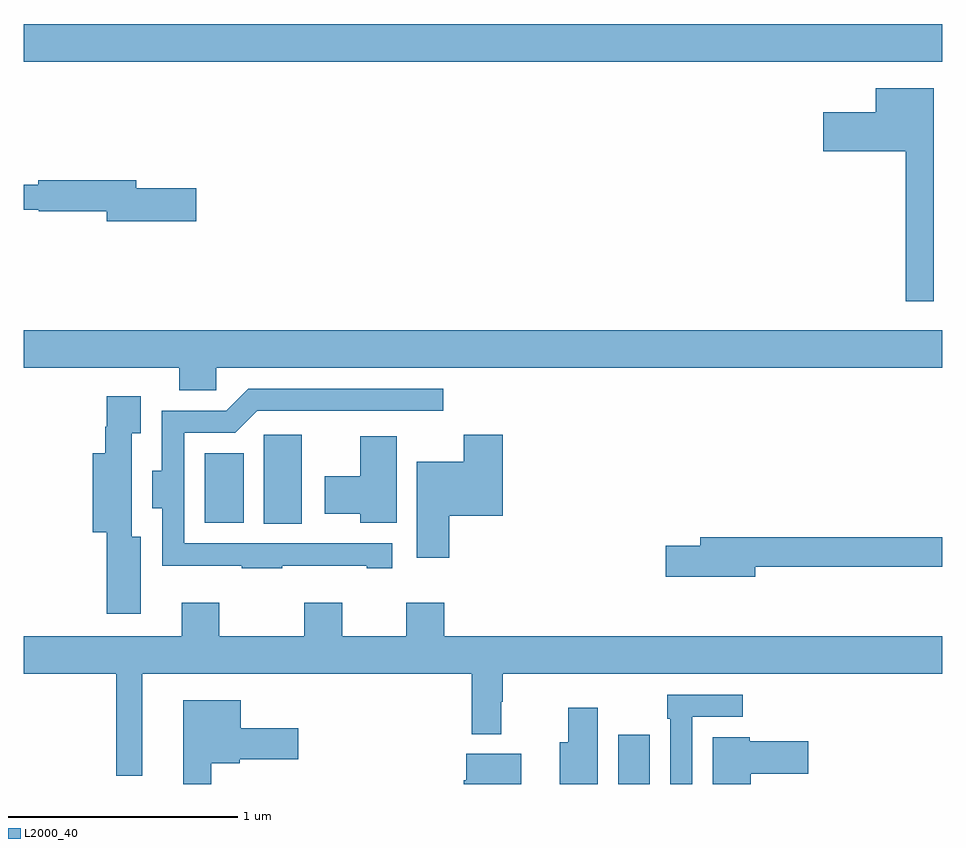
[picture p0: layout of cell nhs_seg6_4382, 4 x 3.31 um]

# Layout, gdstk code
import gdstk
lib = gdstk.Library(unit=1e-6, precision=1e-09)
def R(c, l, rs):  # rectangles x0, y0, x1, y1
    for r in rs: c.add(gdstk.rectangle(r[:2], r[2:], *l))
def P(c, l, *ps):  # polygons
    for p in ps: c.add(gdstk.Polygon(p, *l))
L2000_40 = (2000, 40)

nhs_seg6_4382 = lib.new_cell('nhs_seg6_4382')
R(nhs_seg6_4382, L2000_40, [(371.588,969.5,371.725,969.715), (370.046,970.633,370.21,971.02), (369.788,970.637,369.958,970.939), (369,972.644,373,972.808)])
P(nhs_seg6_4382, L2000_40, [(372.961,972.529),(372.71,972.529),(372.71,972.424),(372.48,972.424),(372.48,972.254),(372.84,972.254),(372.84,971.601),(372.961,971.601)],
  [(369.751,972.092),(369.49,972.092),(369.49,972.128),(369.064,972.128),(369.064,972.109),(369,972.109),(369,972),(369.066,972),(369.066,971.992),(369.362,971.992),(369.362,971.95),(369.751,971.95)],
  [(369.84,971.312),(373,971.312),(373,971.476),(369,971.476),(369,971.312),(369.677,971.312),(369.677,971.214),(369.84,971.214)],
  [(370.127,970.451),(370.493,970.451),(370.493,970.44),(370.606,970.44),(370.606,970.548),(369.699,970.548),(369.699,971.028),(369.921,971.028),(370.017,971.124),(370.828,971.124),(370.828,971.22),(369.978,971.22),(369.882,971.124),(369.602,971.124),(369.602,970.864),(369.56,970.864),(369.56,970.7),(369.603,970.7),(369.603,970.451),(369.949,970.451),(369.949,970.44),(370.127,970.44)],
  [(369.511,970.576),(369.472,970.576),(369.472,971.027),(369.511,971.027),(369.511,971.188),(369.363,971.188),(369.363,971.055),(369.355,971.055),(369.355,970.939),(369.302,970.939),(369.302,970.595),(369.362,970.595),(369.362,970.242),(369.511,970.242)],
  [(370.853,970.667),(371.087,970.667),(371.087,971.02),(370.916,971.02),(370.916,970.903),(370.712,970.903),(370.712,970.485),(370.853,970.485)],
  [(370.624,971.014),(370.466,971.014),(370.466,970.84),(370.311,970.84),(370.311,970.676),(370.466,970.676),(370.466,970.637),(370.624,970.637)],
  [(372.184,970.446),(373,970.446),(373,970.574),(371.945,970.574),(371.945,970.538),(371.796,970.538),(371.796,970.403),(372.184,970.403)],
  [(370.831,970.288),(370.667,970.288),(370.667,970.144),(370.387,970.144),(370.387,970.288),(370.223,970.288),(370.223,970.144),(369.853,970.144),(369.853,970.288),(369.689,970.288),(369.689,970.144),(369,970.144),(369,969.98),(369.403,969.98),(369.403,969.536),(369.517,969.536),(369.517,969.98),(370.951,969.98),(370.951,969.717),(371.08,969.717),(371.08,969.857),(371.087,969.857),(371.087,969.98),(373,969.98),(373,970.144),(370.831,970.144)],
  [(371.91,969.792),(372.13,969.792),(372.13,969.888),(371.802,969.888),(371.802,969.785),(371.814,969.785),(371.814,969.5),(371.91,969.5)],
  [(369.817,969.59),(369.942,969.59),(369.942,969.608),(370.195,969.608),(370.195,969.742),(369.946,969.742),(369.946,969.865),(369.695,969.865),(369.695,969.5),(369.817,969.5)],
  [(371.5,969.832),(371.371,969.832),(371.371,969.682),(371.333,969.682),(371.333,969.5),(371.5,969.5)],
  [(372.166,969.545),(372.415,969.545),(372.415,969.687),(372.162,969.687),(372.162,969.703),(371.999,969.703),(371.999,969.5),(372.166,969.5)],
  [(371.167,969.631),(370.928,969.631),(370.928,969.516),(370.916,969.516),(370.916,969.5),(371.167,969.5)])

lib.write_gds('nhs_seg6_4382.gds')
